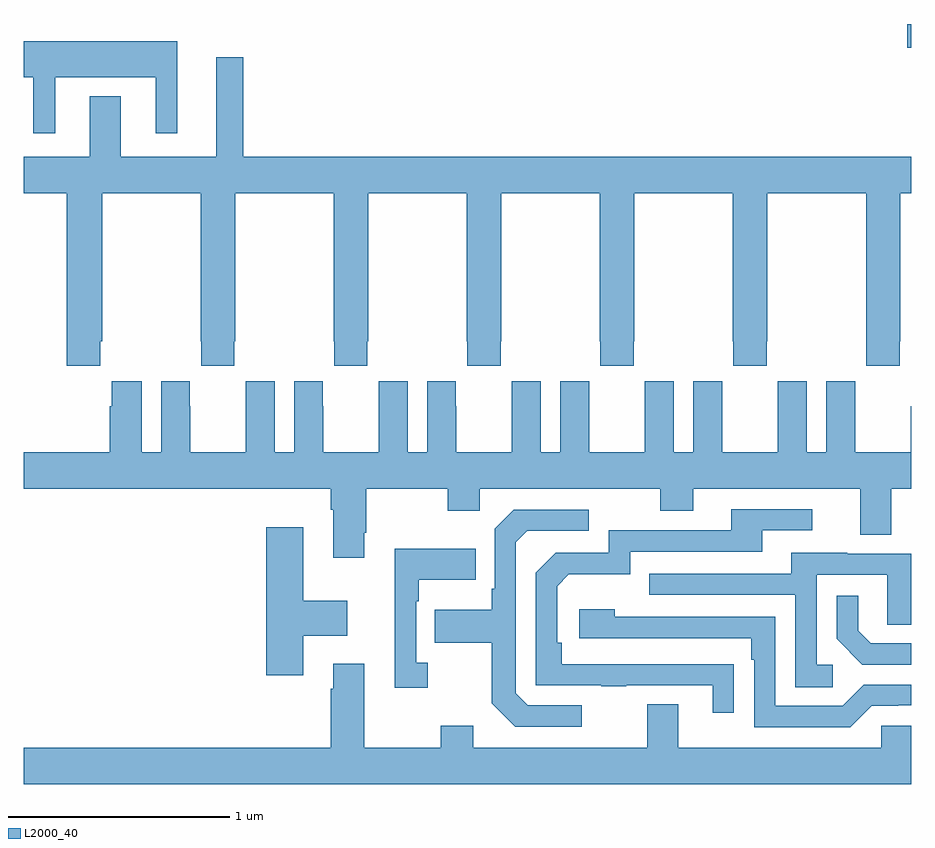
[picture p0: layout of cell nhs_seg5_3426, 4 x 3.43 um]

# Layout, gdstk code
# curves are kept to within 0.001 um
import gdstk
lib = gdstk.Library(unit=1e-6, precision=1e-09)
def R(c, l, rs):  # rectangles x0, y0, x1, y1
    for r in rs: c.add(gdstk.rectangle(r[:2], r[2:], *l))
def P(c, l, *ps):  # polygons
    for p in ps: c.add(gdstk.Polygon(p, *l))
L2000_40 = (2000, 40)

nhs_seg5_3426 = lib.new_cell('nhs_seg5_3426')
R(nhs_seg5_3426, L2000_40, [(314.982,914.693,315,914.799)])
P(nhs_seg5_3426, L2000_40, [(311.14,914.558),(311.594,914.558),(311.594,914.307),(311.692,914.307),(311.692,914.722),(311,914.722),(311,914.558),(311.042,914.558),(311.042,914.307),(311.14,914.307)],
  [(311.345,913.369),(311.352,913.369),(311.352,914.036),(311.797,914.036),(311.797,913.369),(311.799,913.369),(311.799,913.257),(311.949,913.257),(311.949,913.369),(311.952,913.369),(311.952,914.036),(312.397,914.036),(312.397,913.369),(312.399,913.369),(312.399,913.257),(312.549,913.257),(312.549,913.369),(312.552,913.369),(312.552,914.036),(312.997,914.036),(312.997,913.369),(312.999,913.369),(312.999,913.257),(313.149,913.257),(313.149,913.369),(313.152,913.369),(313.152,914.036),(313.597,914.036),(313.597,913.369),(313.599,913.369),(313.599,913.257),(313.749,913.257),(313.749,913.369),(313.752,913.369),(313.752,914.036),(314.197,914.036),(314.197,913.369),(314.199,913.369),(314.199,913.257),(314.349,913.257),(314.349,913.369),(314.352,913.369),(314.352,914.036),(314.797,914.036),(314.797,913.369),(314.799,913.369),(314.799,913.257),(314.949,913.257),(314.949,913.369),(314.952,913.369),(314.952,914.036),(315,914.036),(315,914.2),(311.989,914.2),(311.989,914.65),(311.867,914.65),(311.867,914.2),(311.437,914.2),(311.437,914.473),(311.297,914.473),(311.297,914.2),(311,914.2),(311,914.036),(311.192,914.036),(311.192,913.257),(311.345,913.257)],
  [(312,913.189),(312,913.076),(311.999,913.076),(311.999,912.868),(311.749,912.868),(311.749,913.076),(311.748,913.076),(311.748,913.189),(311.618,913.189),(311.618,912.868),(311.53,912.868),(311.53,913.189),(311.396,913.189),(311.396,913.076),(311.387,913.076),(311.387,912.868),(311,912.868),(311,912.704),(312.383,912.704),(312.383,912.608),(312.395,912.608),(312.395,912.393),(312.535,912.393),(312.535,912.505),(312.543,912.505),(312.543,912.704),(312.91,912.704),(312.91,912.605),(313.056,912.605),(313.056,912.704),(313.87,912.704),(313.87,912.605),(314.017,912.605),(314.017,912.704),(314.771,912.704),(314.771,912.496),(314.911,912.496),(314.911,912.704),(315,912.704),(315,913.076),(314.999,913.076),(314.999,912.868),(314.749,912.868),(314.749,913.076),(314.748,913.076),(314.748,913.189),(314.618,913.189),(314.618,912.868),(314.53,912.868),(314.53,913.189),(314.4,913.189),(314.4,913.076),(314.399,913.076),(314.399,912.868),(314.149,912.868),(314.149,913.076),(314.148,913.076),(314.148,913.189),(314.018,913.189),(314.018,912.868),(313.93,912.868),(313.93,913.189),(313.8,913.189),(313.8,913.076),(313.799,913.076),(313.799,912.868),(313.549,912.868),(313.549,913.076),(313.548,913.076),(313.548,913.189),(313.418,913.189),(313.418,912.868),(313.33,912.868),(313.33,913.189),(313.2,913.189),(313.2,913.076),(313.199,913.076),(313.199,912.868),(312.949,912.868),(312.949,913.076),(312.948,913.076),(312.948,913.189),(312.818,913.189),(312.818,912.868),(312.73,912.868),(312.73,913.189),(312.6,913.189),(312.6,913.076),(312.599,913.076),(312.599,912.868),(312.349,912.868),(312.349,913.076),(312.348,913.076),(312.348,913.189),(312.218,913.189),(312.218,912.868),(312.13,912.868),(312.13,913.189)],
  [(314.201,911.912),(313.424,911.913),(313.424,912.01),(313.404,912.01),(313.404,912.264),(313.457,912.317),(313.734,912.317),(313.734,912.42),(314.329,912.42),(314.329,912.516),(314.554,912.516),(314.554,912.612),(314.189,912.612),(314.189,912.516),(313.638,912.516),(313.638,912.414),(313.398,912.414),(313.308,912.324),(313.308,911.817),(313.603,911.817),(313.603,911.812),(313.715,911.812),(313.715,911.817),(314.105,911.817),(314.105,911.694),(314.201,911.694)],
  [(313.516,911.727),(313.272,911.727),(313.218,911.781),(313.218,912.462),(313.269,912.513),(313.546,912.513),(313.546,912.609),(313.209,912.609),(313.122,912.522),(313.122,912.253),(313.11,912.253),(313.11,912.157),(312.853,912.157),(312.853,912.01),(313.11,912.01),(313.11,911.737),(313.215,911.631),(313.516,911.631)],
  [(312.259,912.041),(312.457,912.041),(312.457,912.199),(312.259,912.199),(312.259,912.529),(312.092,912.529),(312.092,911.862),(312.259,911.862)],
  [(312.82,911.918),(312.768,911.918),(312.768,912.197),(312.781,912.197),(312.781,912.293),(313.037,912.293),(313.037,912.433),(312.671,912.433),(312.671,911.805),(312.82,911.805)],
  [(314.647,911.91),(314.574,911.91),(314.574,912.315),(314.892,912.315),(314.892,912.091),(315,912.091),(315,912.411),(314.713,912.411),(314.713,912.415),(314.459,912.415),(314.459,912.321),(313.819,912.321),(313.819,912.225),(314.478,912.225),(314.478,911.809),(314.647,911.809)],
  [(315,912.006),(314.818,912.006),(314.761,912.063),(314.761,912.22),(314.664,912.22),(314.664,912.026),(314.78,911.91),(315,911.91)],
  [(314.823,911.724),(314.942,911.724),(314.942,911.727),(315,911.727),(315,911.82),(314.787,911.82),(314.691,911.724),(314.388,911.724),(314.388,912.126),(313.664,912.126),(313.664,912.16),(313.503,912.16),(313.503,912.03),(314.279,912.03),(314.279,911.933),(314.292,911.933),(314.292,911.628),(314.727,911.628)],
  [(315,911.634),(314.865,911.634),(314.865,911.536),(313.951,911.536),(313.951,911.731),(313.811,911.731),(313.811,911.536),(313.027,911.536),(313.027,911.635),(312.88,911.635),(312.88,911.536),(312.535,911.536),(312.535,911.914),(312.395,911.914),(312.395,911.801),(312.383,911.801),(312.383,911.536),(311,911.536),(311,911.372),(315,911.372)])

lib.write_gds('nhs_seg5_3426.gds')
